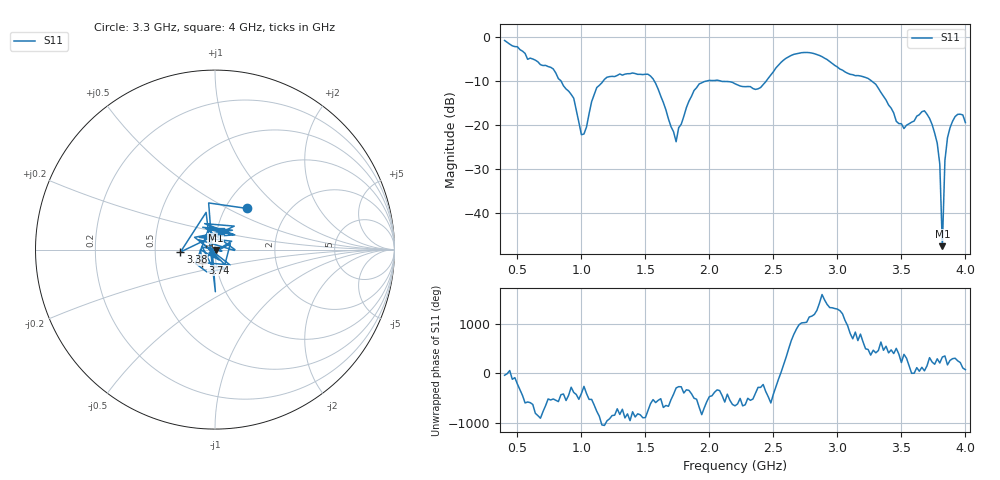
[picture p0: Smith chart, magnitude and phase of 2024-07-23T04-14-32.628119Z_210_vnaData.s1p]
!Created with skrf (http://scikit-rf.org).
# Hz S RI R 50.0
!freq ReS11 ImS11
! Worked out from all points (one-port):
!   181 points, 400 MHz to 4 GHz, reference 50 ohm
!   lowest |S11| = -47.5 dB at 3.82 GHz (marker M1), VSWR 1.01, Z = 50.4 - j0.231 ohm
!   |S11| at or under -10 dB: 1.57 GHz to 1.978 GHz (408.1 MHz wide, 23 % of centre); 2.09 GHz to 2.444 GHz (354.1 MHz wide, 15.6 % of centre); 3.268 GHz to end of sweep (the widest 3 of 4)
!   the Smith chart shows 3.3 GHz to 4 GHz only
!   S11 on the Smith chart (normalised r, x): 3.3 GHz: 1.26, +0.63; 3.38 GHz: 0.68, -0.02; 3.74 GHz: 0.86, -0.13; 4 GHz: 1.05, +0.21
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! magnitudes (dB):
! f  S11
! 400 MHz  -0.8
! 780 MHz  -7.2
! 860 MHz  -11.1
! 940 MHz  -13.9
! 1 GHz  -22.2
! 1.04 GHz  -20.4
! 1.12 GHz  -11.5
! 1.3 GHz  -8.4
! 1.54 GHz  -8.9
! 1.74 GHz  -23.8
! 1.76 GHz  -20.6
! 1.92 GHz  -10.7
! 2.2 GHz  -10.6
! 2.38 GHz  -11.8
! 2.66 GHz  -3.9
! 3.1 GHz  -8.5
! 3.3 GHz  -10.7
! 3.38 GHz  -14.3
! 3.46 GHz  -19.1
! 3.56 GHz  -19.7
! 3.68 GHz  -16.8
! 3.74 GHz  -19.9
! 3.8 GHz  -28.9
! 3.82 GHz  -47.5
! 3.84 GHz  -28.0
! 3.86 GHz  -22.9
! 3.92 GHz  -18.1
! 4 GHz  -19.4
